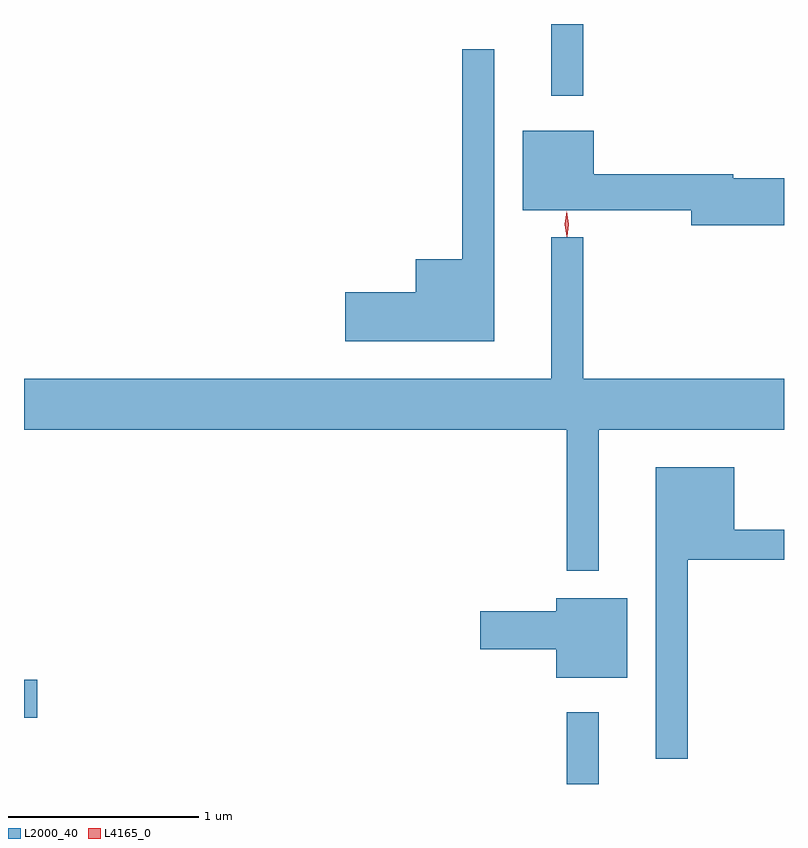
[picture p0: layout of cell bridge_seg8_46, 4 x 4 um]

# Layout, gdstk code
import gdstk
lib = gdstk.Library(unit=1e-6, precision=1e-09)
def R(c, l, rs):  # rectangles x0, y0, x1, y1
    for r in rs: c.add(gdstk.rectangle(r[:2], r[2:], *l))
def P(c, l, *ps):  # polygons
    for p in ps: c.add(gdstk.Polygon(p, *l))
L2000_40 = (2000, 40)
L4165_0 = (4165, 0)

bridge_seg8_46 = lib.new_cell('bridge_seg8_46')
R(bridge_seg8_46, L2000_40, [(1610.251,1876.731,1610.419,1877.108), (1607.395,1877.081,1607.464,1877.279), (1610.171,1880.353,1610.339,1880.731)])
P(bridge_seg8_46, L2000_40, [(1609.869,1880.598),(1609.701,1880.598),(1609.701,1879.494),(1609.456,1879.494),(1609.456,1879.319),(1609.086,1879.319),(1609.086,1879.061),(1609.869,1879.061)],
  [(1611.395,1879.919),(1611.129,1879.919),(1611.129,1879.939),(1610.394,1879.939),(1610.394,1880.169),(1610.021,1880.169),(1610.021,1879.751),(1610.906,1879.751),(1610.906,1879.671),(1611.395,1879.671)],
  [(1610.419,1878.596),(1611.395,1878.596),(1611.395,1878.864),(1610.339,1878.864),(1610.339,1879.608),(1610.171,1879.608),(1610.171,1878.864),(1607.395,1878.864),(1607.395,1878.596),(1610.251,1878.596),(1610.251,1877.853),(1610.419,1877.853)],
  [(1610.889,1877.911),(1611.395,1877.911),(1611.395,1878.069),(1611.134,1878.069),(1611.134,1878.399),(1610.721,1878.399),(1610.721,1876.863),(1610.889,1876.863)],
  [(1610.569,1877.709),(1610.196,1877.709),(1610.196,1877.639),(1609.796,1877.639),(1609.796,1877.441),(1610.196,1877.441),(1610.196,1877.291),(1610.569,1877.291)])
P(bridge_seg8_46, L4165_0, [(1610.252,1879.613),(1610.242,1879.677),(1610.252,1879.741),(1610.252,1879.741),(1610.252,1879.741),(1610.262,1879.677),(1610.253,1879.613),(1610.253,1879.613)],
  [(1610.252,1879.61),(1610.242,1879.678),(1610.252,1879.746),(1610.252,1879.746),(1610.252,1879.746),(1610.262,1879.678),(1610.253,1879.61),(1610.253,1879.61)])

lib.write_gds('bridge_seg8_46.gds')
